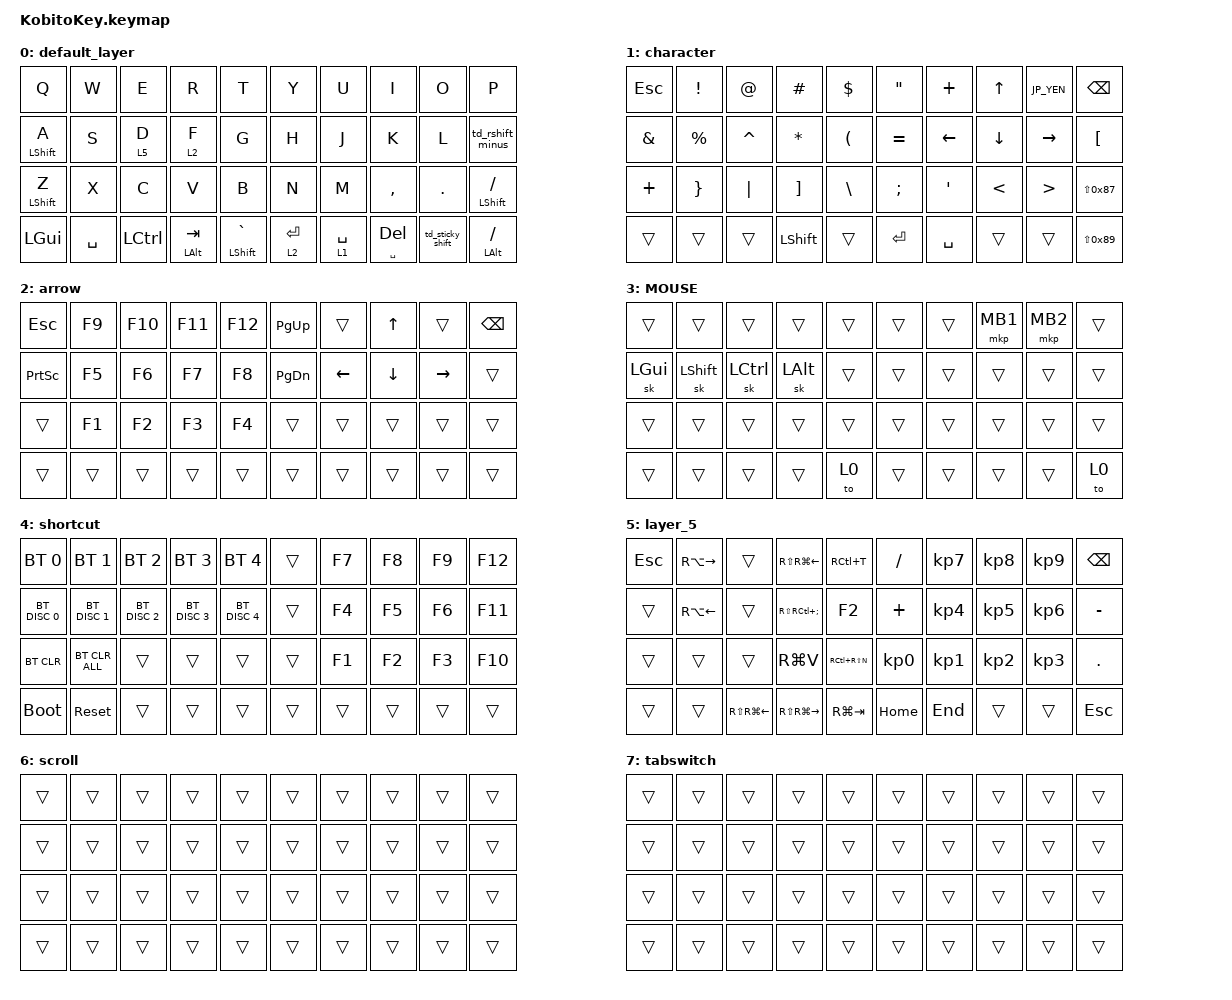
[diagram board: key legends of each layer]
#include <input/processors.dtsi>
#include <behaviors.dtsi>
#include <dt-bindings/zmk/bt.h>
#include <dt-bindings/zmk/keys.h>
#include <dt-bindings/zmk/pointing.h>

// OS設定を日本語キーボードのまま使用するための変換定義

#define JP_DQUOTE       AT                // "
#define JP_AMPERSAND    CARET             // &
#define JP_QUOTE        AMPERSAND         // '
#define JP_EQUAL        UNDER             // =
#define JP_CARET        EQUAL             // ^
#define JP_YEN          0x89              // ¥
#define JP_PLUS         COLON             // +
#define JP_TILDE        PLUS              // ~
#define JP_PIPE         LS(0x89)          // |
#define JP_AT           LEFT_BRACKET      // @
#define JP_COLON        SINGLE_QUOTE      // :
#define JP_ASTERISK     DOUBLE_QUOTES     // *
#define JP_BACKQUOTE    LEFT_BRACE        // `
#define JP_UNDERSCORE   LS(0x87)          // _
#define JP_LBRACKET     RIGHT_BRACKET     // [
#define JP_RBRACKET     BACKSLASH         // ]
#define JP_LPAREN       ASTERISK          // (
#define JP_RPAREN       LEFT_PARENTHESIS  // )
#define JP_LBRACE       RIGHT_BRACE       // {
#define JP_RBRACE       PIPE              // }
#define JP_KANA         LANGUAGE_1        // かな
#define JP_EISU         LANGUAGE_2        // 英数
#define JP_HANZEN       GRAVE             // 半角/全角

/* マウスキー(&mkp)の押下/リリース時にzip_temp_layerを再発火させ、オートマウスレイヤーの
   タイムアウト(5秒)をリセットする。&mkpはlocality=CENTRALのため右半分でのクリックも
   中央(左)側のmkp_input_listenerへ届く。excluded-positions(7,8)によりクリック自体で
   レイヤーは解除されない。 */

&mkp_input_listener { input-processors = <&zip_temp_layer 3 5000>; };

/ {
    behaviors {
        /* Positional Hold-Tap: 反対の手のキーが押された時だけホールド判定する。
           同じ手でのロール入力時の誤ホールド（誤Shift・誤レイヤー）を防止する。
           position 34 (mt_grave_shift) は対象外（手の判定なし、後述のmt_grave_shift参照）。 */

        hml: home_row_mod_left {
            compatible = "zmk,behavior-hold-tap";
            #binding-cells = <2>;
            flavor = "balanced";
            tapping-term-ms = <200>;
            quick-tap-ms = <150>;
            require-prior-idle-ms = <120>;
            bindings = <&kp>, <&kp>;

            hold-trigger-key-positions = <5 6 7 8 9 15 16 17 18 19 25 26 27 28 29 35 36 37 38 39>;
            hold-trigger-on-release;
        };

        hmr: home_row_mod_right {
            compatible = "zmk,behavior-hold-tap";
            #binding-cells = <2>;
            flavor = "balanced";
            tapping-term-ms = <200>;
            quick-tap-ms = <150>;
            require-prior-idle-ms = <120>;
            bindings = <&kp>, <&kp>;

            hold-trigger-key-positions = <0 1 2 3 4 10 11 12 13 14 20 21 22 23 24 30 31 32 33 34>;
            hold-trigger-on-release;
        };

        /* レイヤータップ（D/Fキー用）:
           レイヤー先（レイヤー2のF1〜F12、レイヤー5のショートカット等）に左手側のキーが
           多数含まれるため、手の限定(hold-trigger-key-positions)を外して全キー有効化。
           ※ただし、高速タイピング時の誤ホールド（意図しないレイヤー発動）対策でもあるため、
             実運用で誤判定が増えないか様子見中。誤爆が多い場合は判定時間や条件の再調整を検討。 */

        hml_lt: home_row_layer_left {
            compatible = "zmk,behavior-hold-tap";
            #binding-cells = <2>;
            flavor = "balanced";
            tapping-term-ms = <200>;
            quick-tap-ms = <150>;
            bindings = <&mo>, <&kp>;
        };

        /* position 35/36(Enter/Space)用:
           flavor=hold-preferred に変更し、LTキーを押しながら別キーを押した際に
           即座に確実にレイヤーを発動させる（ロール入力時のタップ誤爆を防止）。
           quick-tap-ms を外すことで直前の入力直後でもホールドが無効化されないように対応。 */

        lt_thumb: layer_tap_thumb {
            compatible = "zmk,behavior-hold-tap";
            #binding-cells = <2>;
            flavor = "hold-preferred";
            tapping-term-ms = <200>;
            bindings = <&mo>, <&kp>;
        };

        /* position 34 用: タップ=GRAVE、ホールド=Shift(従来のmtと同じ挙動)。
           他キー押下時に即時Shiftが発動するよう hold-trigger-on-release を削除。
           手の判定(hold-trigger-key-positions)は付けない。 */

        mt_grave_shift: mod_tap_grave_shift {
            compatible = "zmk,behavior-hold-tap";
            #binding-cells = <2>;
            flavor = "hold-preferred";
            tapping-term-ms = <200>;
            bindings = <&kp>, <&kp>;
        };

        /* position 38 用: 長押し=通常Shift(従来通り)、素早く2回タップ=Sticky Shift */

        td_sticky_shift: tap_dance_sticky_shift {
            compatible = "zmk,behavior-tap-dance";
            #binding-cells = <0>;
            tapping-term-ms = <200>;
            bindings = <&kp RSHFT>, <&sk RSHFT>;
        };

        /* position 19 用: タップ=ハイフン、ホールド=Shift(従来のhmrのまま維持)、
           素早く2回タップ=Sticky Shift（次の1キーだけ大文字化） */

        td_rshift_minus: tap_dance_rshift_minus {
            compatible = "zmk,behavior-tap-dance";
            #binding-cells = <0>;
            tapping-term-ms = <200>;
            bindings = <&hmr RSHIFT MINUS>, <&sk RSHFT>;
        };
    };

    combos {
        compatible = "zmk,combos";

        combo_esc {
            timeout-ms = <50>;
            key-positions = <0 1>;
            bindings = <&kp ESC>;
            layers = <0>;
        };

        scrool {
            timeout-ms = <50>;
            bindings = <&mo 6>;
            key-positions = <7 8>;
            layers = <0 3>;
        };

        setting {
            bindings = <&sl 4>;
            key-positions = <4 3>;
        };

        tabswitch {
            timeout-ms = <50>;
            bindings = <&mo 7>;
            key-positions = <5 6>;
            layers = <0 3>;
        };
    };

    keymap {
        compatible = "zmk,keymap";

        default_layer {
            bindings = <
&kp Q              &kp W      &kp E        &kp R              &kp T                 &kp Y              &kp U              &kp I             &kp O             &kp P
&hml LEFT_SHIFT A  &kp S      &hml_lt 5 D  &hml_lt 2 F        &kp G                 &kp H              &kp J              &kp K             &kp L             &td_rshift_minus
&hml LEFT_SHIFT Z  &kp X      &kp C        &kp V              &kp B                 &kp N              &kp M              &kp COMMA         &kp DOT           &hmr LEFT_SHIFT SLASH
&kp LEFT_GUI       &kp SPACE  &kp LCTRL    &hml LEFT_ALT TAB  &mt LEFT_SHIFT GRAVE  &lt_thumb 2 ENTER  &lt_thumb 1 SPACE  &mt SPACE DELETE  &td_sticky_shift  &hmr LALT SLASH
            >;
        };

        layer1 {
            label = "character";
            bindings = <
&kp ESC   &kp EXCL         &kp AT     &kp HASH           &kp DOLLAR            &kp DOUBLE_QUOTES  &kp PLUS   &kp UP_ARROW    &kp JP_YEN        &kp BACKSPACE
&kp AMPS  &kp PERCENT      &kp CARET  &kp ASTRK          &kp LEFT_PARENTHESIS  &kp EQUAL          &kp LEFT   &kp DOWN_ARROW  &kp RIGHT         &kp LEFT_BRACKET
&kp PLUS  &kp RIGHT_BRACE  &kp PIPE   &kp RIGHT_BRACKET  &kp BACKSLASH         &kp SEMI           &kp APOS   &kp LESS_THAN   &kp GREATER_THAN  &kp JP_UNDERSCORE
&trans    &trans           &trans     &kp LSHFT          &trans                &kp ENTER          &kp SPACE  &trans          &trans            &kp JP_PIPE
            >;
        };

        layer2 {
            label = "arrow";
            bindings = <
&kp ESC    &kp F9  &kp F10  &kp F11  &kp F12  &kp PAGE_UP    &trans          &kp UP_ARROW    &trans     &kp BACKSPACE
&kp PSCRN  &kp F5  &kp F6   &kp F7   &kp F8   &kp PAGE_DOWN  &kp LEFT_ARROW  &kp DOWN_ARROW  &kp RIGHT  &trans
&trans     &kp F1  &kp F2   &kp F3   &kp F4   &trans         &trans          &trans          &trans     &trans
&trans     &trans  &trans   &trans   &trans   &trans         &trans          &trans          &trans     &trans
            >;
        };

        layer3 {
            label = "MOUSE";
            bindings = <
&trans    &trans     &trans     &trans    &trans  &trans  &trans  &mkp MB1  &mkp MB2  &trans
&sk LGUI  &sk LSHFT  &sk LCTRL  &sk LALT  &trans  &trans  &trans  &trans    &trans    &trans
&trans    &trans     &trans     &trans    &trans  &trans  &trans  &trans    &trans    &trans
&trans    &trans     &trans     &trans    &to 0   &trans  &trans  &trans    &trans    &to 0
            >;
        };

        layer4 {
            bindings = <
&bt BT_SEL 0   &bt BT_SEL 1    &bt BT_SEL 2   &bt BT_SEL 3   &bt BT_SEL 4   &trans  &kp F7  &kp F8  &kp F9  &kp F12
&bt BT_DISC 0  &bt BT_DISC 1   &bt BT_DISC 2  &bt BT_DISC 3  &bt BT_DISC 4  &trans  &kp F4  &kp F5  &kp F6  &kp F11
&bt BT_CLR     &bt BT_CLR_ALL  &trans         &trans         &trans         &trans  &kp F1  &kp F2  &kp F3  &kp F10
&bootloader    &sys_reset      &trans         &trans         &trans         &trans  &trans  &trans  &trans  &trans
            >;

            label = "shortcut";
        };

        layer_5 {
            bindings = <
&kp ESC  &kp RA(RIGHT)  &trans            &kp RS(RG(LEFT))   &kp RC(T)      &kp SLASH        &kp KP_NUMBER_7  &kp KP_NUMBER_8  &kp KP_NUMBER_9  &kp BSPC
&trans   &kp RA(LEFT)   &trans            &kp RS(RC(SEMI))   &kp F2         &kp PLUS         &kp KP_NUMBER_4  &kp KP_NUMBER_5  &kp KP_NUMBER_6  &kp MINUS
&trans   &trans         &trans            &kp RG(V)          &kp RC(RS(N))  &kp KP_NUMBER_0  &kp KP_NUMBER_1  &kp KP_NUMBER_2  &kp KP_NUMBER_3  &kp DOT
&trans   &trans         &kp RS(RG(LEFT))  &kp RS(RG(RIGHT))  &kp RG(TAB)    &kp HOME         &kp END          &trans           &trans           &kp ESC
            >;
        };

        layer_6 {
            bindings = <
&trans  &trans  &trans  &trans  &trans  &trans  &trans  &trans  &trans  &trans
&trans  &trans  &trans  &trans  &trans  &trans  &trans  &trans  &trans  &trans
&trans  &trans  &trans  &trans  &trans  &trans  &trans  &trans  &trans  &trans
&trans  &trans  &trans  &trans  &trans  &trans  &trans  &trans  &trans  &trans
            >;

            label = "scroll";
        };

        layer_7 {
            bindings = <
&trans  &trans  &trans  &trans  &trans  &trans  &trans  &trans  &trans  &trans
&trans  &trans  &trans  &trans  &trans  &trans  &trans  &trans  &trans  &trans
&trans  &trans  &trans  &trans  &trans  &trans  &trans  &trans  &trans  &trans
&trans  &trans  &trans  &trans  &trans  &trans  &trans  &trans  &trans  &trans
            >;

            label = "tabswitch";
        };
    };
};
